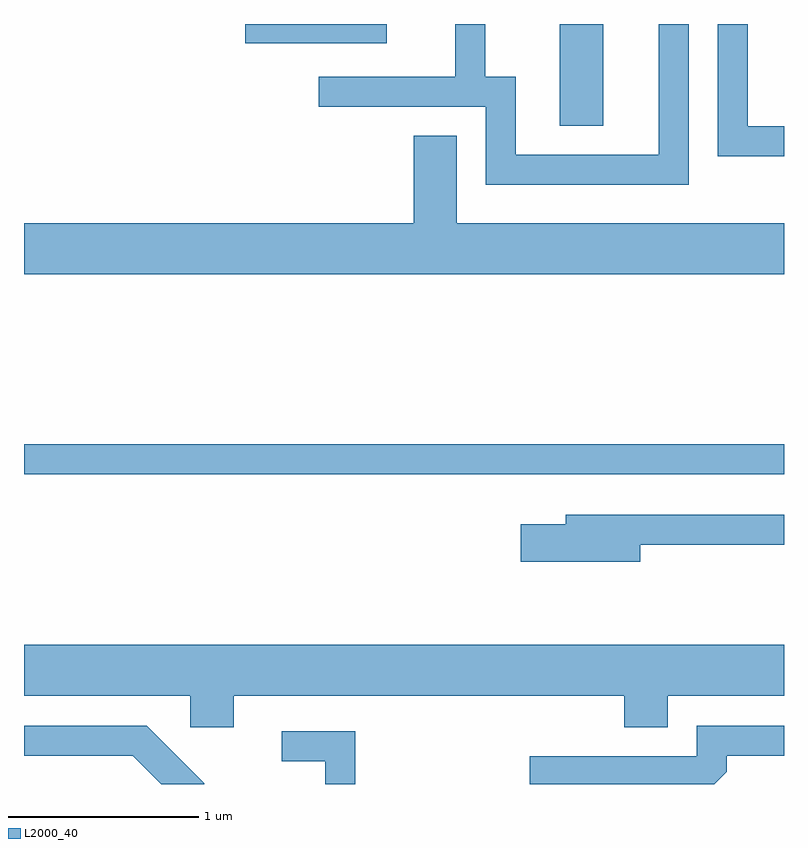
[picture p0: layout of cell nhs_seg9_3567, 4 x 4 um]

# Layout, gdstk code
import gdstk
lib = gdstk.Library(unit=1e-6, precision=1e-09)
def R(c, l, rs):  # rectangles x0, y0, x1, y1
    for r in rs: c.add(gdstk.rectangle(r[:2], r[2:], *l))
def P(c, l, *ps):  # polygons
    for p in ps: c.add(gdstk.Polygon(p, *l))
L2000_40 = (2000, 40)

nhs_seg9_3567 = lib.new_cell('nhs_seg9_3567')
R(nhs_seg9_3567, L2000_40, [(289.611,2024.061,293.611,2024.219), (292.431,2025.896,292.659,2026.432), (290.776,2026.331,291.519,2026.432)])
P(nhs_seg9_3567, L2000_40, [(293.611,2025.894),(293.419,2025.894),(293.419,2026.432),(293.261,2026.432),(293.261,2025.736),(293.611,2025.736)],
  [(293.109,2026.432),(292.951,2026.432),(292.951,2025.744),(292.199,2025.744),(292.199,2026.154),(292.039,2026.154),(292.039,2026.432),(291.881,2026.432),(291.881,2026.154),(291.163,2026.154),(291.163,2025.996),(292.041,2025.996),(292.041,2025.586),(293.109,2025.586)],
  [(293.611,2025.384),(291.889,2025.384),(291.889,2025.844),(291.661,2025.844),(291.661,2025.384),(289.611,2025.384),(289.611,2025.116),(293.611,2025.116)],
  [(292.854,2023.691),(293.611,2023.691),(293.611,2023.849),(292.461,2023.849),(292.461,2023.799),(292.226,2023.799),(292.226,2023.601),(292.854,2023.601)],
  [(290.714,2022.896),(292.771,2022.896),(292.771,2022.731),(292.999,2022.731),(292.999,2022.896),(293.611,2022.896),(293.611,2023.164),(289.611,2023.164),(289.611,2022.896),(290.486,2022.896),(290.486,2022.731),(290.714,2022.731)],
  [(293.309,2022.497),(293.309,2022.581),(293.611,2022.581),(293.611,2022.739),(293.151,2022.739),(293.151,2022.579),(292.273,2022.579),(292.273,2022.432),(293.245,2022.432)],
  [(290.559,2022.437),(290.257,2022.739),(289.611,2022.739),(289.611,2022.581),(290.184,2022.581),(290.333,2022.432),(290.559,2022.432)],
  [(291.354,2022.709),(290.968,2022.709),(290.968,2022.551),(291.196,2022.551),(291.196,2022.432),(291.354,2022.432)])

lib.write_gds('nhs_seg9_3567.gds')
